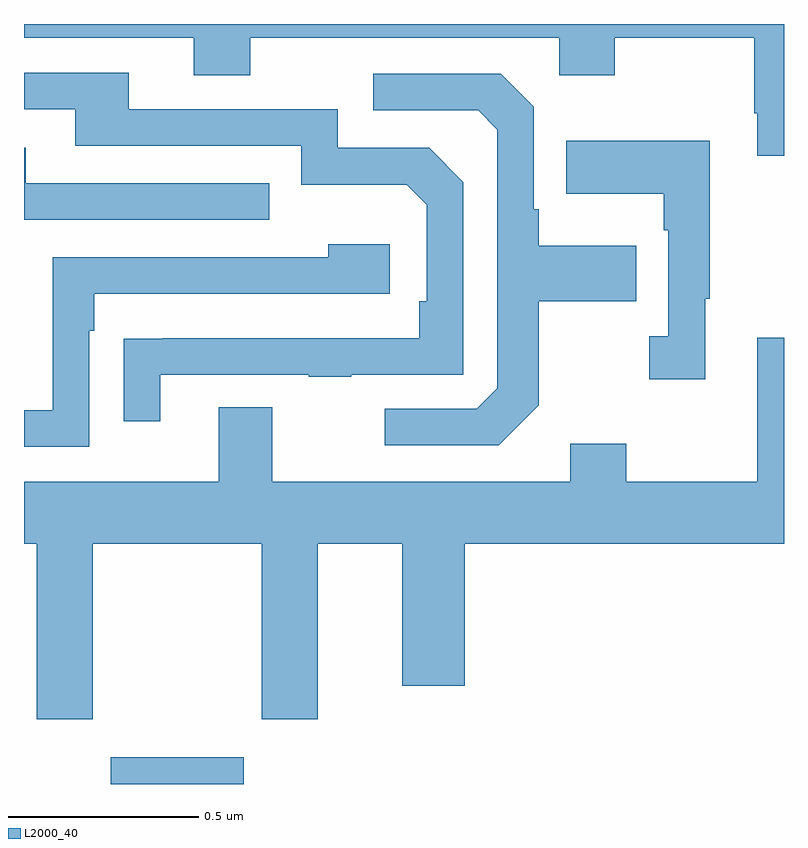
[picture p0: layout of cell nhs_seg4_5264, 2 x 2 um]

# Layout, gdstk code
import gdstk
lib = gdstk.Library(unit=1e-6, precision=1e-09)
def R(c, l, rs):  # rectangles x0, y0, x1, y1
    for r in rs: c.add(gdstk.rectangle(r[:2], r[2:], *l))
def P(c, l, *ps):  # polygons
    for p in ps: c.add(gdstk.Polygon(p, *l))
L2000_40 = (2000, 40)

nhs_seg4_5264 = lib.new_cell('nhs_seg4_5264')
R(nhs_seg4_5264, L2000_40, [(176.228,750.9,176.578,750.97)])
P(nhs_seg4_5264, L2000_40, [(178,752.9),(176,752.9),(176,752.864),(176.447,752.864),(176.447,752.765),(176.595,752.765),(176.595,752.864),(177.408,752.864),(177.408,752.765),(177.555,752.765),(177.555,752.864),(177.922,752.864),(177.922,752.665),(177.929,752.665),(177.929,752.553),(178,752.553)],
  [(176.359,751.977),(176.749,751.977),(176.749,751.972),(176.861,751.972),(176.861,751.977),(177.156,751.977),(177.156,752.484),(177.066,752.574),(176.826,752.574),(176.826,752.676),(176.275,752.676),(176.275,752.772),(176,752.772),(176,752.676),(176.135,752.676),(176.135,752.58),(176.73,752.58),(176.73,752.477),(177.007,752.477),(177.06,752.424),(177.06,752.17),(177.04,752.17),(177.04,752.073),(176.365,752.073),(176.365,752.072),(176.263,752.072),(176.263,751.854),(176.359,751.854)],
  [(177.355,751.897),(177.355,752.17),(177.611,752.17),(177.611,752.317),(177.355,752.317),(177.355,752.413),(177.342,752.413),(177.342,752.682),(177.255,752.769),(176.919,752.769),(176.919,752.673),(177.195,752.673),(177.246,752.622),(177.246,751.941),(177.192,751.887),(176.949,751.887),(176.949,751.791),(177.249,751.791)],
  [(177.793,752.177),(177.805,752.177),(177.805,752.593),(177.427,752.593),(177.427,752.453),(177.684,752.453),(177.684,752.357),(177.696,752.357),(177.696,752.078),(177.645,752.078),(177.645,751.965),(177.793,751.965)],
  [(176.645,752.481),(176.005,752.481),(176.005,752.575),(176,752.575),(176,752.385),(176.645,752.385)],
  [(176.172,752.093),(176.185,752.093),(176.185,752.19),(176.962,752.19),(176.962,752.32),(176.801,752.32),(176.801,752.286),(176.076,752.286),(176.076,751.884),(176,751.884),(176,751.788),(176.172,751.788)],
  [(176.181,751.532),(176.626,751.532),(176.626,751.071),(176.773,751.071),(176.773,751.532),(176.996,751.532),(176.996,751.158),(177.16,751.158),(177.16,751.532),(178,751.532),(178,752.074),(177.929,752.074),(177.929,751.696),(177.585,751.696),(177.585,751.795),(177.437,751.795),(177.437,751.696),(176.653,751.696),(176.653,751.891),(176.513,751.891),(176.513,751.696),(176,751.696),(176,751.532),(176.033,751.532),(176.033,751.071),(176.181,751.071)])

lib.write_gds('nhs_seg4_5264.gds')
